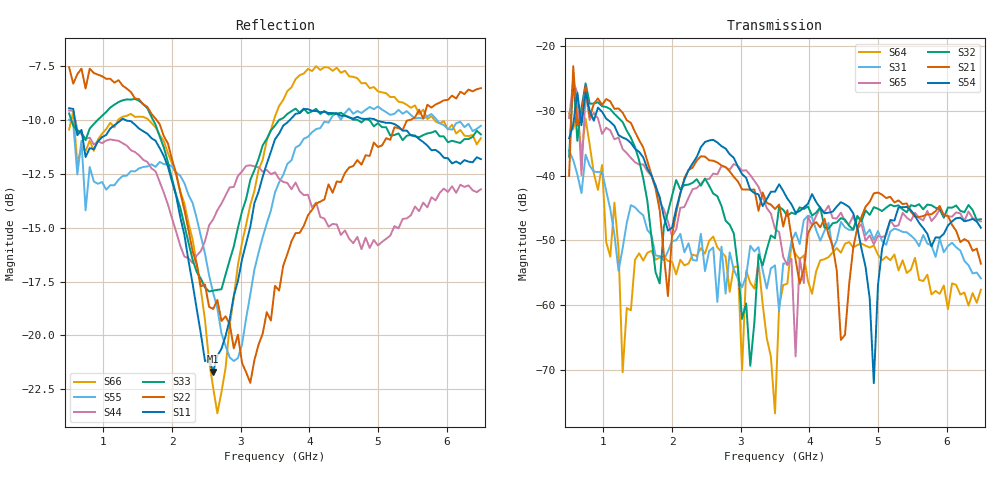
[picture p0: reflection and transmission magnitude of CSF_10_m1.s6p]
!Keysight Technologies,M9804A,MY58100912,A.14.10.03
!Date: Thursday, April 27, 2023 10:28:33
!Correction: S11(C  6-Port  )
!S12(C  6-Port  )
!S13(C  6-Port  )
!S14(C  6-Port  )
!S15(C  6-Port  )
!S16(C  6-Port  )
!S21(C  6-Port  )
!S22(C  6-Port  )
!S23(C  6-Port  )
!S24(C  6-Port  )
!S25(C  6-Port  )
!S26(C  6-Port  )
!S31(C  6-Port  )
!S32(C  6-Port  )
!S33(C  6-Port  )
!S34(C  6-Port  )
!S35(C  6-Port  )
!S36(C  6-Port  )
!S41(C  6-Port  )
!S42(C  6-Port  )
!S43(C  6-Port  )
!S44(C  6-Port  )
!S45(C  6-Port  )
!S46(C  6-Port  )
!S51(C  6-Port  )
!S52(C  6-Port  )
!S53(C  6-Port  )
!S54(C  6-Port  )
!S55(C  6-Port  )
!S56(C  6-Port  )
!S61(C  6-Port  )
!S62(C  6-Port  )
!S63(C  6-Port  )
!S64(C  6-Port  )
!S65(C  6-Port  )
!S66(C  6-Port  )
!S6P File: Measurement: :
# Hz S  RI  R 50
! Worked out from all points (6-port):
!   101 points, 500 MHz to 6.5 GHz, reference 50 ohm
!   strongest paths, dB at 500 MHz, 2 GHz, 3.5 GHz, 5 GHz, 6.5 GHz:
!     S54: -34.2, -48.1, -42.5, -57.0, -48.0
!     S21: -40.0, -49.2, -45.1, -42.6, -53.6
!     S32: -37.1, -43.1, -49.7, -45.1, -46.7
!     S65: -31.1, -49.4, -48.2, -49.3, -47.1
!     S31: -36.1, -50.1, -53.9, -48.6, -55.9
!     S64: -30.4, -53.3, -76.7, -52.2, -57.6
!   lowest |S11| = -21.7 dB at 2.6 GHz (marker M1), VSWR 1.18, Z = 42.6 + j2.04 ohm
!   |S11| at or under -10 dB: 585.2 MHz to 1.257 GHz (672.2 MHz wide, 73 % of centre); 1.32 GHz to 3.716 GHz (2.397 GHz wide, 95.2 % of centre); 4.969 GHz to end of sweep
